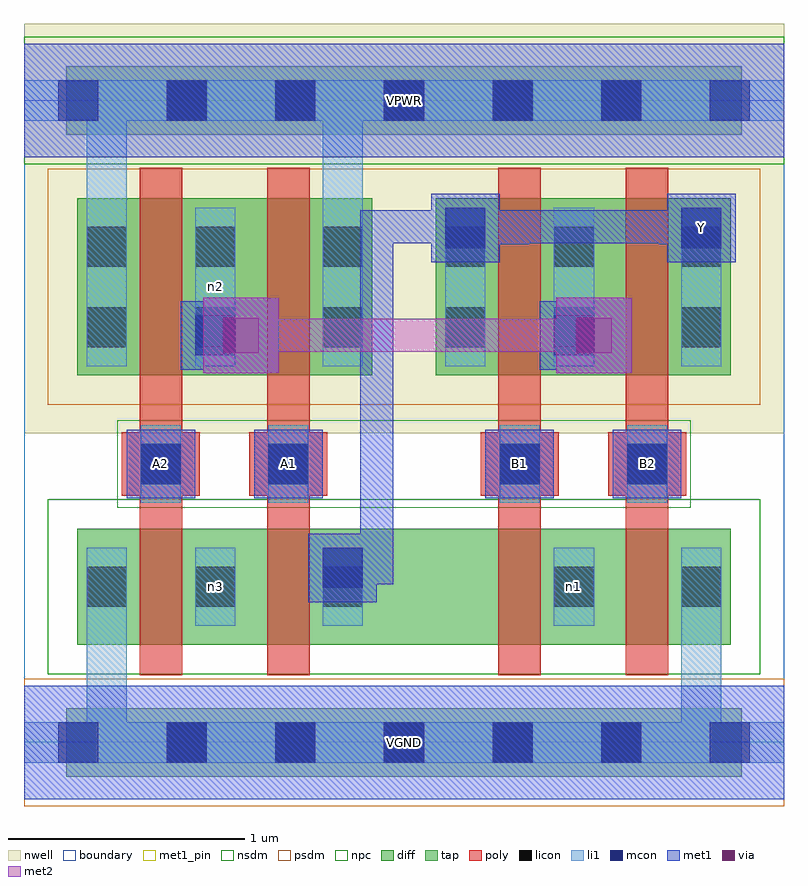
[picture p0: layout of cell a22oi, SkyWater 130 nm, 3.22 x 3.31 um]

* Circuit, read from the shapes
.subckt a22oi A1 A2 B1 B2 VGND VPWR Y n1 n2 n3
XM1 n3 A2 VGND VGND sky130_fd_pr__nfet_01v8 w=0.49 l=0.18
XM2 Y A1 n3 VGND sky130_fd_pr__nfet_01v8 w=0.49 l=0.18
XM3 n1 B1 Y VGND sky130_fd_pr__nfet_01v8 w=0.49 l=0.18
XM4 VGND B2 n1 VGND sky130_fd_pr__nfet_01v8 w=0.49 l=0.18
XM5 n2 A2 VPWR VPWR sky130_fd_pr__pfet_01v8 w=0.75 l=0.18
XM6 VPWR A1 n2 VPWR sky130_fd_pr__pfet_01v8 w=0.75 l=0.18
XM7 n2 B1 Y VPWR sky130_fd_pr__pfet_01v8 w=0.75 l=0.18
XM8 Y B2 n2 VPWR sky130_fd_pr__pfet_01v8 w=0.75 l=0.18
.ends

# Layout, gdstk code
import gdstk
lib = gdstk.Library(unit=1e-6, precision=1e-09)
def R(c, l, rs):  # rectangles x0, y0, x1, y1
    for r in rs: c.add(gdstk.rectangle(r[:2], r[2:], *l))
def A(c, l, x, y, w, h, nx, ny, dx, dy):  # array of equal rectangles
    R(c, l, [(x+i*dx, y+j*dy, x+i*dx+w, y+j*dy+h) for i in range(nx) for j in range(ny)])
nwell = (64, 20)
diff = (65, 20)
tap = (65, 44)
poly = (66, 20)
licon = (66, 44)
li1 = (67, 20)
mcon = (67, 44)
met1_pin = (68, 16)
met1 = (68, 20)
via = (68, 44)
met2 = (69, 20)
nsdm = (93, 44)
psdm = (94, 20)
npc = (95, 20)
boundary = (235, 4)

a22oi = lib.new_cell('a22oi')
R(a22oi, nwell, [(0,1.31,3.22,3.045)])
R(a22oi, diff, [(0.225,0.415,2.995,0.905), (0.225,1.555,1.475,2.305), (1.745,1.555,2.995,2.305)])
R(a22oi, tap, [(0.18,-0.145,3.04,0.145), (0.18,2.575,3.04,2.865)])
R(a22oi, poly, [(0.49,0.285,0.67,2.435), (1.03,0.285,1.21,2.435), (2.01,0.285,2.19,2.435), (2.55,0.285,2.73,2.435), (0.415,1.045,0.745,1.315), (0.955,1.045,1.285,1.315), (1.935,1.045,2.265,1.315), (2.475,1.045,2.805,1.315)])
A(a22oi, licon, 0.605, -0.085, 0.17, 0.17, 5, 2, 0.46, 2.72)
R(a22oi, licon, [(0.265,0.575,0.435,0.745), (0.725,0.575,0.895,0.745), (1.265,0.575,1.435,0.745), (2.245,0.575,2.415,0.745), (2.785,0.575,2.955,0.745), (0.495,1.095,0.665,1.265), (1.035,1.095,1.205,1.265), (2.015,1.095,2.185,1.265), (2.555,1.095,2.725,1.265), (0.265,1.675,0.435,1.845), (0.725,1.675,0.895,1.845), (1.265,1.675,1.435,1.845), (1.785,1.675,1.955,1.845), (2.245,1.675,2.415,1.845), (2.785,1.675,2.955,1.845), (0.265,2.015,0.435,2.185), (0.725,2.015,0.895,2.185), (1.265,2.015,1.435,2.185), (1.785,2.015,1.955,2.185), (2.245,2.015,2.415,2.185), (2.785,2.015,2.955,2.185)])
R(a22oi, li1, [(0,-0.085,3.22,0.085), (0.265,-0.085,0.435,0.825), (2.785,-0.085,2.955,0.825), (0.265,0.495,0.435,0.825), (0.725,0.495,0.895,0.825), (1.265,0.495,1.435,0.825), (2.245,0.495,2.415,0.825), (2.785,0.495,2.955,0.825), (0.495,1.015,0.665,1.345), (1.035,1.015,1.205,1.345), (2.015,1.015,2.185,1.345), (2.555,1.015,2.725,1.345), (0.265,1.595,0.435,2.265), (0.265,1.595,0.435,2.805), (0.725,1.595,0.895,2.265), (1.265,1.595,1.435,2.265), (1.265,1.595,1.435,2.805), (1.785,1.595,1.955,2.265), (2.245,1.595,2.415,2.265), (2.785,1.595,2.955,2.265), (0,2.635,3.22,2.805)])
A(a22oi, mcon, 0.145, -0.085, 0.17, 0.17, 7, 2, 0.46, 2.72)
R(a22oi, mcon, [(1.265,0.655,1.435,0.825), (0.495,1.095,0.665,1.265), (1.035,1.095,1.205,1.265), (2.015,1.095,2.185,1.265), (2.555,1.095,2.725,1.265), (0.725,1.64,0.895,1.81), (2.245,1.64,2.415,1.81), (1.785,2.095,1.955,2.265), (2.785,2.095,2.955,2.265)])
R(a22oi, met1_pin, [(0,-0.24,3.22,0.24), (0.435,1.035,0.725,1.325), (0.975,1.035,1.265,1.325), (1.955,1.035,2.245,1.325), (2.495,1.035,2.785,1.325), (2.725,2.035,3.015,2.325), (0,2.48,3.22,2.96)])
R(a22oi, met1, [(0,-0.24,3.22,0.24), (1.205,0.595,1.495,0.885), (1.28,0.67,1.565,0.81), (1.425,0.67,1.565,0.99), (1.425,0.85,1.565,2.255), (0.435,1.035,0.725,1.325), (0.975,1.035,1.265,1.325), (1.955,1.035,2.245,1.325), (2.495,1.035,2.785,1.325), (0.76,1.565,1.08,1.885), (2.255,1.565,2.575,1.885), (0.665,1.58,0.955,1.87), (2.185,1.58,2.475,1.87), (0.74,1.655,0.99,1.795), (2.26,1.655,2.485,1.795), (1.725,2.035,2.015,2.325), (2.725,2.035,3.015,2.325), (1.8,2.11,2.14,2.25), (2,2.11,2.14,2.255), (2.69,2.11,2.94,2.25), (2.69,2.11,2.83,2.255), (1.425,2.115,2.14,2.255), (2,2.115,2.83,2.255), (0,2.48,3.22,2.96)])
R(a22oi, via, [(0.845,1.65,0.995,1.8), (2.34,1.65,2.49,1.8)])
R(a22oi, met2, [(0.76,1.565,1.08,1.885), (2.255,1.565,2.575,1.885), (0.85,1.655,2.485,1.795)])
R(a22oi, nsdm, [(0.1,0.29,3.12,1.03), (0,2.45,3.22,2.99)])
R(a22oi, psdm, [(0,-0.27,3.22,0.27), (0.1,1.43,3.12,2.43)])
R(a22oi, npc, [(0.395,0.995,2.825,1.365)])
R(a22oi, boundary, [(0,0,3.22,2.72)])
a22oi.add(gdstk.Label('n3', (0.81,0.66), layer=67, texttype=5))
a22oi.add(gdstk.Label('n1', (2.33,0.66), layer=67, texttype=5))
a22oi.add(gdstk.Label('n2', (0.81,1.93), layer=67, texttype=5))
a22oi.add(gdstk.Label('A1', (1.12,1.18), layer=68, texttype=5))
a22oi.add(gdstk.Label('A2', (0.58,1.18), layer=68, texttype=5))
a22oi.add(gdstk.Label('B1', (2.1,1.18), layer=68, texttype=5))
a22oi.add(gdstk.Label('B2', (2.64,1.18), layer=68, texttype=5))
a22oi.add(gdstk.Label('Y', (2.87,2.18), layer=68, texttype=5))
a22oi.add(gdstk.Label('VPWR', (1.61,2.72), layer=68, texttype=5))
a22oi.add(gdstk.Label('VGND', (1.61,0), layer=68, texttype=5))
a22oi.add(gdstk.Label('A1', (1.12,1.18), layer=68, texttype=16))
a22oi.add(gdstk.Label('A2', (0.58,1.18), layer=68, texttype=16))
a22oi.add(gdstk.Label('B1', (2.1,1.18), layer=68, texttype=16))
a22oi.add(gdstk.Label('B2', (2.64,1.18), layer=68, texttype=16))
a22oi.add(gdstk.Label('Y', (2.87,2.18), layer=68, texttype=16))
a22oi.add(gdstk.Label('VPWR', (1.61,2.72), layer=68, texttype=16))
a22oi.add(gdstk.Label('VGND', (1.61,0), layer=68, texttype=16))

lib.write_gds('a22oi.gds')
